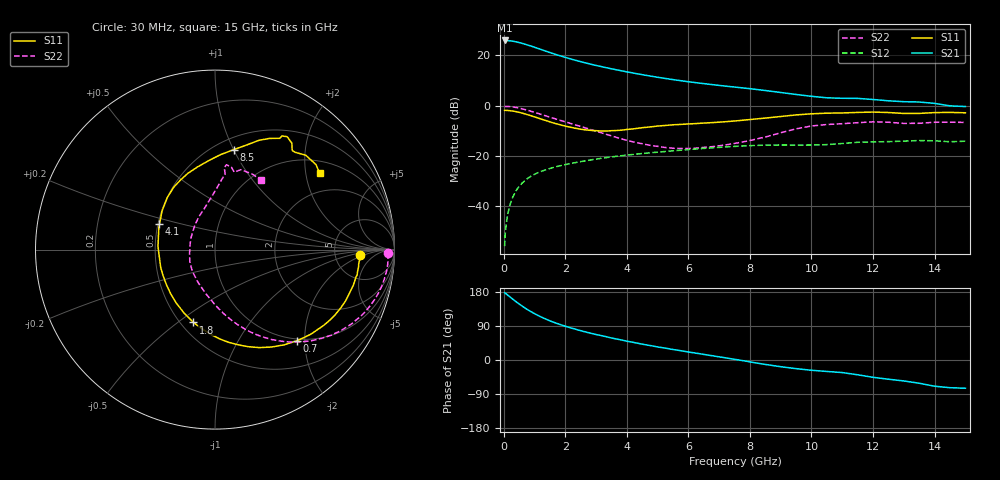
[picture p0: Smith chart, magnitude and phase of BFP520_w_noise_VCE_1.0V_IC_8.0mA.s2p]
! Infineon Technologies  Discrete & RF Semiconductors
! BFP520
! VCE =  1.0 V,  IC =  8.0 mA
! Common Emitter S-Parameters:  Oct 2015
# GHz  S  MA  R  50
!  f  S11  S21  S12  S22
! GHz  MAG  ANG  MAG  ANG  MAG  ANG  MAG  ANG
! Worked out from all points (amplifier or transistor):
!   109 points, 30 MHz to 15 GHz, reference 50 ohm
!   highest |S21| = 26.0 dB at 30 MHz (marker M1)
!   |S21| within 3 dB of that: start of sweep to 1.071 GHz
!   unconditionally stable (mu >= 1): 3.532 GHz to end of sweep
!   at 450 MHz: K = 0.19, MSG = 29.1 dB, |S12| = -33.0 dB
!   at 4 GHz: K = 1.06, MAG = 15.1 dB, |S12| = -19.7 dB
!   at 15 GHz: K = 1.33, MAG = 3.5 dB, |S12| = -14.1 dB
!   lowest NFmin = 1.40 dB at 900 MHz
!   S11 on the Smith chart (normalised r, x): 30 MHz: 9.06, -1.61; 700 MHz: 0.97, -1.84; 1.8 GHz: 0.58, -0.57; 4.1 GHz: 0.51, +0.16; 8.5 GHz: 0.61, +1.00; 15 GHz: 1.34, +2.40
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0.03  0.8067 -2.2  19.88 177.9  0.0016 88.2  0.9628 -1.2
0.05  0.8095 -3.3  19.74 176.1  0.0028 93.9  0.9648 -2.2
0.09  0.8053 -6.5  19.8 173.9  0.0047 87.5  0.9658 -4.2
0.2  0.796 -14.4  19.55 166.7  0.0103 82.9  0.9578 -9.8
0.4  0.7618 -28.4  18.65 154.0  0.0201 76.2  0.9213 -19.5
0.6  0.7121 -41.5  17.41 142.3  0.0288 70.1  0.8666 -28.5
0.7  0.6838 -47.9  16.7 136.8  0.0329 67.4  0.8355 -32.6
0.9  0.6274 -59.9  15.27 127.0  0.0399 62.4  0.7706 -40.0
1.2  0.5458 -76.4  13.21 114.2  0.0488 56.7  0.6763 -49.7
1.5  0.4771 -91.8  11.45 103.5  0.0563 52.2  0.5922 -57.8
1.8  0.423 -106.5  9.976 94.5  0.0629 48.7  0.5194 -64.8
2.2  0.3688 -125.5  8.436 84.2  0.0711 44.9  0.4385 -73.0
2.6  0.3339 -144.2  7.251 75.2  0.0789 41.5  0.3699 -81.0
3.4  0.3148 -179.0  5.592 60.1  0.0938 34.8  0.2617 -98.9
4.1  0.3404 155.3  4.594 48.2  0.1055 29.0  0.1976 -120.9
5.1  0.3976 130.5  3.601 33.2  0.1203 21.2  0.1516 -158.1
6  0.4331 116.3  3.001 21.1  0.134 14.4  0.1411 171.1
7.6  0.5024 92.6  2.315 0.6  0.1559 0.7  0.1819 126.1
8.5  0.5672 79.3  2.004 -11.7  0.1642 -8.1  0.238 104.2
10.5  0.7096 60.9  1.435 -30.2  0.1678 -20.6  0.4221 82.4
13  0.7002 52.1  1.201 -55.3  0.1972 -40.4  0.4442 76.0
15  0.7221 36.2  0.962 -74.5  0.1963 -56.1  0.4646 56.4
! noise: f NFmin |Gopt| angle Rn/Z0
0.45  1.42  0.36  1  0.29
0.9  1.4  0.34  8  0.32
1.9  1.59  0.3  17  0.26
2.4  1.61  0.26  29  0.27
3.5  1.56  0.24  52  0.26
